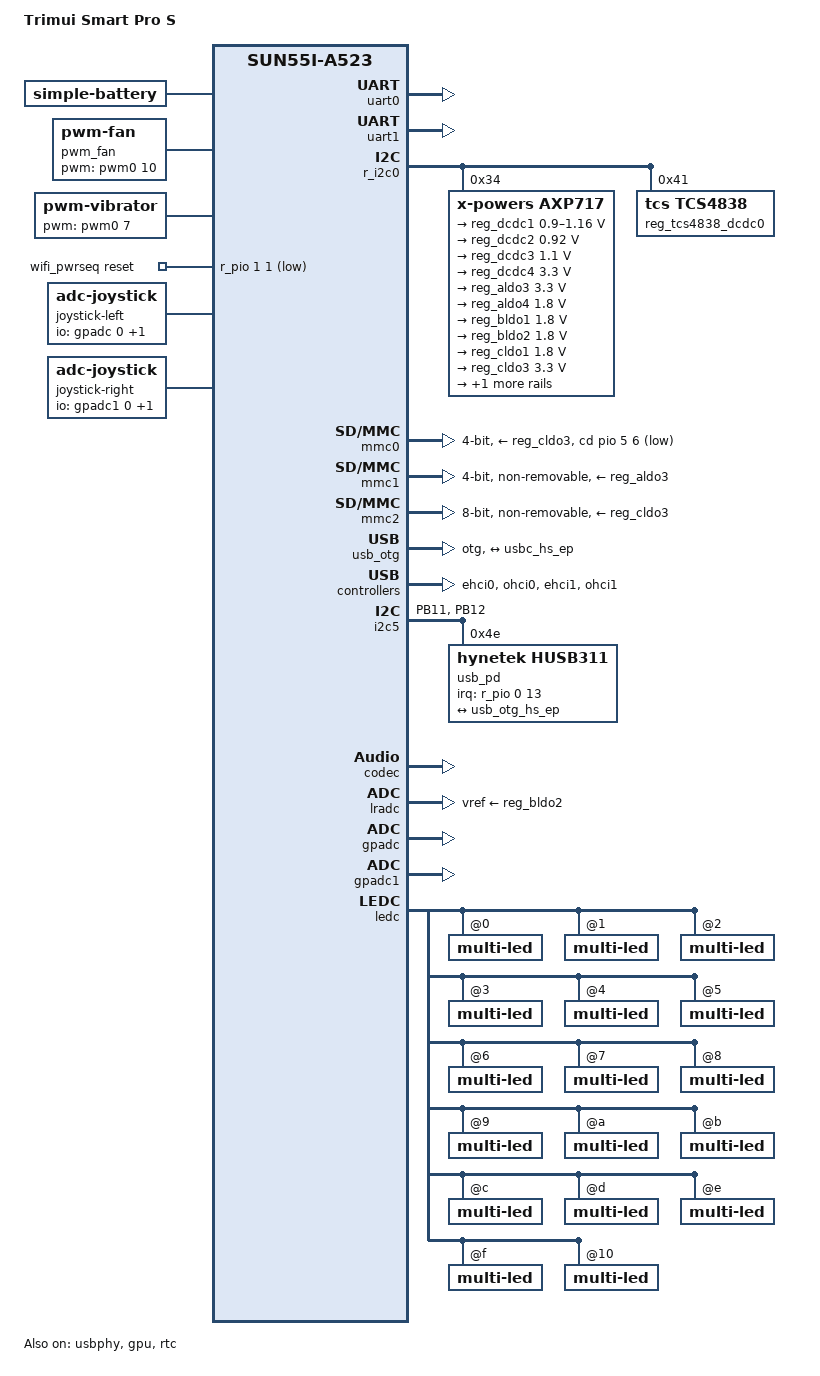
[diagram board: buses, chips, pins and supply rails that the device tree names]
// SPDX-License-Identifier: (GPL-2.0-only OR MIT)
// Copyright (C) 2026 Midgy BALON
/*
 * Trimui Smart Pro S handheld (board "A523-PRO2-AXP717C").
 * SoC: Allwinner A523 (sun55iw3p1). Base: mainline sun55i-a523.dtsi.
 *
 * WORK IN PROGRESS. Modeled on the upstream sun55i-t527-avaota-a1.dts (same SoC
 * family). Built with the display series in kernel/patches/ applied and
 * trimui-panel.dtsi appended (see kernel/build-trimui-kernel.sh).
 *
 * On board now: PMIC + regulators, storage (microSD/eMMC), USB2, RTC, LEDC RGB
 * array, GPU (Mali-G57 / Panfrost, upstream), MIPI-DSI panel + PWM backlight
 * (via patches), fan + vibrator (PWM), audio codec, LRADC side keys, GPADC
 * analog sticks (2 controllers; gpadc0 upstream v7.2 + gpadc1 via patch), WiFi/BT
 * power sequencing (AIC8800, out-of-tree module). Still pending: USB3 (draft in
 * dts/staging/). See PORTING-NOTES.md for the roadmap.
 *
 * "VERIFY" = needs confirmation by i2c/dump on real hardware before trusting.
 * Rail->consumer map is derived from the vendor DTB where known and otherwise
 * mirrors Avaota A1; the exact Trimui map must be read from the device.
 */

/dts-v1/;

#include "sun55i-a523.dtsi"

#include <dt-bindings/gpio/gpio.h>
#include <dt-bindings/input/input.h>
#include <dt-bindings/interrupt-controller/irq.h>
#include <dt-bindings/leds/common.h>
#include <dt-bindings/pwm/pwm.h>

/ {
	model = "Trimui Smart Pro S";
	/* T527 is the same die as A523; A523 is what mainline carries. */
	compatible = "trimui,smart-pro-s", "allwinner,sun55i-a523";

	aliases {
		serial0 = &uart0;
		mmc0 = &mmc0;	/* microSD */
		mmc1 = &mmc1;	/* WiFi SDIO */
		mmc2 = &mmc2;	/* eMMC */
	};

	chosen {
		stdout-path = "serial0:115200n8";
	};

	/*
	 * LiPo pack, 5000 mAh. Values from the vendor DTB: battery-cap 0x1388 =
	 * 5000 mAh, init-chgvol 0x1068 = 4.2 V CV, runtime-chgcur 0x3e8 = 1 A
	 * (the vendor bumps to ~1.95 A in suspend/shutdown). The AXP717 has a
	 * hardware fuel gauge (E-gauge) that reports charge % directly, so mainline's
	 * axp717 battery driver reads SoC from hardware and consumes only the
	 * charge-current + voltage limits below — the vendor's 32-point OCV curve
	 * (pmu_bat_para1..32) is not needed by mainline (kept in FIRMWARE-FINDINGS).
	 * VERIFY the design-min and capacity against the device.
	 */
	battery: battery {
		compatible = "simple-battery";
		voltage-min-design-microvolt = <3400000>;		/* VERIFY */
		voltage-max-design-microvolt = <4200000>;		/* vendor CV = 4.2 V */
		constant-charge-current-max-microamp = <1000000>;	/* 1 A runtime */
		charge-full-design-microamp-hours = <5000000>;		/* 5000 mAh */
	};

	/*
	 * Active cooling fan on PWM0 channel 10 / PB6 (vendor: 40 us period,
	 * inverted, 32 levels). #cooling-cells lets a thermal zone bind it once
	 * the A523 THS series lands; usable as a manual cooling device until then.
	 * &pwm0 is enabled via trimui-panel.dtsi.
	 */
	pwm_fan: pwm-fan {
		compatible = "pwm-fan";
		pwms = <&pwm0 10 40000 PWM_POLARITY_INVERTED>;
		#cooling-cells = <2>;
		cooling-levels = <0 1 20 30 40 50 60 70 80 90 100 110 120
				  130 140 150 160 170 180 190 200 205 210
				  215 220 225 230 235 240 245 250 255>;
	};

	/* Haptic motor on PWM0 channel 7 (vendor: 50 us period, normal). */
	vibrator {
		compatible = "pwm-vibrator";
		pwms = <&pwm0 7 50000 0>;
		pwm-names = "enable";
	};

	/*
	 * AIC8800 WiFi power/reset sequencing for the mmc1 SDIO bus. wlan_regon =
	 * PM1 (R_PIO bank 1, pin 1). The chip needs the out-of-tree aic8800 module;
	 * this only powers/resets it. ACTIVE_LOW so deassert (high) = powered on.
	 */
	wifi_pwrseq: wifi-pwrseq {
		compatible = "mmc-pwrseq-simple";
		reset-gpios = <&r_pio 1 1 GPIO_ACTIVE_LOW>;	/* PM1 wlan_regon */
		post-power-on-delay-ms = <200>;
	};
};

&uart0 {
	pinctrl-names = "default";
	pinctrl-0 = <&uart0_pb_pins>;
	status = "okay";
};

/*
 * UART1 (PG6-PG9, with RTS/CTS) = AIC8800 Bluetooth HCI. The BT side needs the
 * out-of-tree aic8800 module; control lines are on R_PIO Port M: bt_rst_n = PM2,
 * bt_wake = PM3, bt_hostwake = PM4.
 */
&uart1 {
	pinctrl-names = "default";
	pinctrl-0 = <&uart1_pins>, <&uart1_rts_cts_pins>;
	uart-has-rtscts;
	status = "okay";
};

/*
 * Reduced-I2C bus: main PMIC lives here (vendor "pmu@34" on s_twi0 = r_i2c0).
 * Vendor silk says AXP717C and drives it as axp2202; mainline only has an
 * AXP717 driver and the register maps are close. VERIFY the chip ID before
 * trusting any voltage below - a wrong PMIC map can mis-set rails.
 */
&r_i2c0 {
	pinctrl-names = "default";
	pinctrl-0 = <&r_i2c_pins>;
	status = "okay";

	axp717: pmic@34 {
		compatible = "x-powers,axp717";	/* VERIFY: axp717 vs axp2202 */
		reg = <0x34>;
		interrupt-controller;
		#interrupt-cells = <1>;
		interrupt-parent = <&nmi_intc>;
		interrupts = <0 IRQ_TYPE_LEVEL_LOW>;

		axp717_adc: adc {
			compatible = "x-powers,axp717-adc";
			#io-channel-cells = <1>;
		};

		battery-power {
			compatible = "x-powers,axp717-battery-power-supply";
			monitored-battery = <&battery>;
		};

		regulators {
			/* dcdc1: CPU "little" cluster (vendor cpu-supply = dcdc1). */
			reg_dcdc1: dcdc1 {
				regulator-always-on;
				regulator-min-microvolt = <900000>;
				regulator-max-microvolt = <1160000>;
				regulator-name = "vdd-cpu";
			};

			reg_dcdc2: dcdc2 {
				regulator-always-on;
				regulator-min-microvolt = <920000>;
				regulator-max-microvolt = <920000>;
				regulator-name = "vdd-gpu-sys";	/* VERIFY */
			};

			/*
			 * LPDDR4 VCC-DRAM. Datasheet Table 6-2 (Recommended
			 * Operating Conditions): 1.06 / 1.10 / 1.17 V. Use 1.10 V
			 * typ — earlier 1.16 V was wrong (copied from the CPU rail,
			 * no margin). Confirm via AXP2202 DCDC3 i2c read on HW.
			 * See uboot/DRAM-VALIDATION.md.
			 */
			reg_dcdc3: dcdc3 {
				regulator-always-on;
				regulator-min-microvolt = <1100000>;
				regulator-max-microvolt = <1100000>;
				regulator-name = "vdd-dram";
			};

			reg_dcdc4: dcdc4 {
				regulator-always-on;
				regulator-min-microvolt = <3300000>;
				regulator-max-microvolt = <3300000>;
				regulator-name = "vdd-io";	/* VERIFY */
			};

			reg_aldo1: aldo1 {
				/* VERIFY connection */
			};

			reg_aldo2: aldo2 {
				/* VERIFY connection */
			};

			/* aldo3: WiFi 3.3V (vendor wlan_power[0] = aldo3 @ 3.3V). */
			reg_aldo3: aldo3 {
				regulator-always-on;
				regulator-min-microvolt = <3300000>;
				regulator-max-microvolt = <3300000>;
				regulator-name = "vcc-wifi-3v3";	/* VERIFY */
			};

			reg_aldo4: aldo4 {
				regulator-always-on;
				regulator-min-microvolt = <1800000>;
				regulator-max-microvolt = <1800000>;
				regulator-name = "vcc-pll-avcc";	/* VERIFY */
			};

			/* bldo1: WiFi 1.8V (vendor wlan_power[1] = bldo1 @ 1.8V). */
			reg_bldo1: bldo1 {
				regulator-min-microvolt = <1800000>;
				regulator-max-microvolt = <1800000>;
				regulator-name = "vcc-wifi-1v8";	/* VERIFY */
			};

			/* bldo2: 1.8V, vendor keeps on (wlan_power[2]). */
			reg_bldo2: bldo2 {
				regulator-always-on;
				regulator-min-microvolt = <1800000>;
				regulator-max-microvolt = <1800000>;
				regulator-name = "vcc-1v8";	/* VERIFY */
			};

			reg_bldo3: bldo3 {
				/* VERIFY connection */
			};

			reg_bldo4: bldo4 {
				/* VERIFY connection */
			};

			reg_cldo1: cldo1 {
				regulator-min-microvolt = <1800000>;
				regulator-max-microvolt = <1800000>;
				regulator-name = "vcc-1v8-io";	/* VERIFY (mmc vqmmc) */
			};

			reg_cldo2: cldo2 {
				/* VERIFY connection */
			};

			reg_cldo3: cldo3 {
				regulator-min-microvolt = <3300000>;
				regulator-max-microvolt = <3300000>;
				regulator-name = "vcc-3v3-io-mmc";	/* VERIFY (mmc vmmc) */
			};

			reg_cldo4: cldo4 {
				/* VERIFY connection */
			};

			reg_cpusldo: cpusldo {
				regulator-always-on;
				regulator-min-microvolt = <900000>;
				regulator-max-microvolt = <900000>;
				regulator-name = "vdd-cpus";
			};
		};
	};

	/*
	 * External "big" cluster CPU supply: TCS4838 buck @ 0x41 (vendor
	 * cpu-supply for cluster1 / cpu4-7). A FAN53555-family single-output buck,
	 * matched purely by compatible (tcs,tcs4838, added in patch 0014 — no
	 * chip-ID probe). The 0.7125-1.5 V envelope is the vendor DTB constraint;
	 * the big-cluster OPP ladder (dts/staging/trimui-cpu-opp.dtsi) caps the
	 * actual operating voltage at 1.15 V nominal. always-on: it is the live
	 * big-core rail. VERIFY on hardware (i2cdump 0x41 ID1/ID2 + live VSEL, see
	 * docs/TCS4838-NOTES.md) before trusting DVFS on this cluster.
	 */
	reg_tcs4838_dcdc0: regulator@41 {
		compatible = "tcs,tcs4838";
		reg = <0x41>;
		regulator-name = "vdd-cpu-big";
		regulator-min-microvolt = <712500>;
		regulator-max-microvolt = <1500000>;
		regulator-ramp-delay = <520>;	/* vendor DTB; driver rounds to the fan53555 500 uV/us slew */
		regulator-boot-on;
		regulator-always-on;
	};
};

/* microSD */
&mmc0 {
	pinctrl-names = "default";
	pinctrl-0 = <&mmc0_pins>;
	bus-width = <4>;
	cd-gpios = <&pio 5 6 GPIO_ACTIVE_LOW>;	/* PF6 */
	vmmc-supply = <&reg_cldo3>;	/* VERIFY */
	vqmmc-supply = <&reg_cldo1>;	/* VERIFY */
	cap-sd-highspeed;
	status = "okay";
};

/* WiFi over SDIO (vendor wlan_busnum = 1). Chip unidentified -> no child yet. */
&mmc1 {
	pinctrl-names = "default";
	pinctrl-0 = <&mmc1_pins>;
	bus-width = <4>;
	non-removable;
	vmmc-supply = <&reg_aldo3>;	/* 3.3V (vendor) */
	vqmmc-supply = <&reg_bldo1>;	/* 1.8V (vendor) */
	mmc-pwrseq = <&wifi_pwrseq>;
	keep-power-in-suspend;
	/*
	 * Chip = AIC8800 (firmware-confirmed), driven by the out-of-tree aic8800
	 * SDIO module which probes the function automatically, so no wifi@1 child
	 * with a mainline compatible. Vendor control lines on R_PIO Port M:
	 * wlan_hostwake = PM0, chip_en = PM5 (wlan_regon = PM1 -> wifi_pwrseq).
	 */
	status = "okay";
};

/* eMMC */
&mmc2 {
	pinctrl-names = "default";
	pinctrl-0 = <&mmc2_pins>;
	bus-width = <8>;
	non-removable;
	cap-mmc-highspeed;
	mmc-ddr-1_8v;
	mmc-hs200-1_8v;
	mmc-hs400-1_8v;
	vmmc-supply = <&reg_cldo3>;	/* 3.3V VERIFY */
	vqmmc-supply = <&reg_cldo1>;	/* 1.8V VERIFY */
	status = "okay";
};

/*
 * CPU idle states (PSCI) — WFI cpu-sleep + cluster power-down, for battery life.
 * Latencies/residencies transcribed from the vendor DTB; VERIFY on hardware.
 */
/ {
	cpus {
		idle-states {
			entry-method = "psci";

			cpu_sleep: cpu-sleep {
				compatible = "arm,idle-state";
				arm,psci-suspend-param = <0x00010000>;
				local-timer-stop;
				entry-latency-us = <46>;
				exit-latency-us = <59>;
				min-residency-us = <3570>;
			};

			cluster_sleep: cluster-sleep {
				compatible = "arm,idle-state";
				arm,psci-suspend-param = <0x01010000>;
				local-timer-stop;
				entry-latency-us = <47>;
				exit-latency-us = <74>;
				min-residency-us = <5000>;
			};
		};
	};
};

&cpu0 { cpu-idle-states = <&cpu_sleep &cluster_sleep>; };
&cpu1 { cpu-idle-states = <&cpu_sleep &cluster_sleep>; };
&cpu2 { cpu-idle-states = <&cpu_sleep &cluster_sleep>; };
&cpu3 { cpu-idle-states = <&cpu_sleep &cluster_sleep>; };
&cpu4 { cpu-idle-states = <&cpu_sleep &cluster_sleep>; };
&cpu5 { cpu-idle-states = <&cpu_sleep &cluster_sleep>; };
&cpu6 { cpu-idle-states = <&cpu_sleep &cluster_sleep>; };
&cpu7 { cpu-idle-states = <&cpu_sleep &cluster_sleep>; };

/* USB */
&usb_otg {
	dr_mode = "otg";	/* external "usb/dp" USB-C port */
	usb-role-switch;	/* host/device role driven by the husb311 Type-C PD controller */
	status = "okay";

	port {
		usb_otg_hs_ep: endpoint {
			remote-endpoint = <&usbc_hs_ep>;
		};
	};
};

&usbphy {
	/* VERIFY id/vbus detect GPIOs + drivevbus from PMIC on hardware. */
	status = "okay";
};

&ehci0 {
	status = "okay";
};

&ohci0 {
	status = "okay";
};

/* Internal host bus - one port carries the gamepad MCU (buttons over USB). */
&ehci1 {
	status = "okay";
};

&ohci1 {
	status = "okay";
};

/*
 * USB-C Type-C port controller on the "usb/dp" port. husb311 (Hynetek) is
 * register-compatible with the Richtek RT1711H. It negotiates USB-PD (charging)
 * and drives the OTG data-role switch (usb-role-switch on &usb_otg, via the
 * sunxi musb role-switch support) so the port can host adapters as well as
 * charge / act as a gadget. VERIFY on hardware: bus/pins (i2c5 = PB11/PB12),
 * ALERT irq (PL13), the PDOs, and a vbus-supply (an AXP drive-vbus rail) if
 * bus-powered host peripherals (keyboard/mouse) are to be powered.
 */
&i2c5 {
	pinctrl-names = "default";
	pinctrl-0 = <&i2c5_pb_pins>;
	status = "okay";

	usb_pd: usb-pd@4e {
		compatible = "hynetek,husb311", "richtek,rt1711h";
		reg = <0x4e>;
		interrupt-parent = <&r_pio>;
		interrupts = <0 13 IRQ_TYPE_LEVEL_LOW>;	/* PL13, active-low ALERT */
		wakeup-source;

		connector {
			compatible = "usb-c-connector";
			label = "usb/dp";
			power-role = "dual";
			data-role = "dual";
			try-power-role = "source";
			op-sink-microwatt = <1000000>;
			/* PDOs transcribed from the vendor DTB — VERIFY on hardware. */
			sink-pdos = <0x220190c8 0x864190c8>;
			source-pdos = <0x22019032 0x86419078>;

			ports {
				#address-cells = <1>;
				#size-cells = <0>;

				port@0 {
					reg = <0>;
					usbc_hs_ep: endpoint {
						remote-endpoint = <&usb_otg_hs_ep>;
					};
				};
			};
		};
	};
};

&pio {
	i2c5_pb_pins: i2c5-pb-pins {
		pins = "PB11", "PB12";	/* TWI5-SCK / TWI5-SDA */
		allwinner,pinmux = <2>;
		function = "i2c5";
	};
};

/*
 * Mali-G57 (Valhall, Job-Manager) — Panfrost. Node, binding and driver are all
 * upstream; the board only enables it and supplies the rail. mali-supply =
 * AXP2202 dcdc2 (resolved from the vendor DTB; a shared GPU+VE rail). See
 * docs/GPU-NOTES.md.
 */
&gpu {
	mali-supply = <&reg_dcdc2>;
	status = "okay";
};

/*
 * Internal audio codec (driver sun55i-codec; node in sun55i-a523.dtsi). avcc =
 * analog 1.8 V = AXP2202 aldo4 (vendor avcc-supply). Speaker amp enable = PH6
 * (active high). The routing mirrors the vendor card: DAC -> line-out/HP pins,
 * speaker fed from the line-out pins, mics -> ADCs. Jack/HMIC detect is WIP
 * (see docs/AUDIO-CODEC-NOTES.md).
 */
&codec {
	allwinner,pa-gpios = <&pio 7 6 GPIO_ACTIVE_HIGH>;	/* PH6 speaker amp */
	allwinner,audio-routing =
		"LINEOUTL", "LINEOUTLP_PIN",
		"LINEOUTL", "LINEOUTLN_PIN",
		"LINEOUTR", "LINEOUTRP_PIN",
		"LINEOUTR", "LINEOUTRN_PIN",
		"SPK", "LINEOUTLP_PIN",
		"SPK", "LINEOUTLN_PIN",
		"SPK", "LINEOUTRP_PIN",
		"SPK", "LINEOUTRN_PIN",
		"HPOUT", "HPOUTL_PIN",
		"HPOUT", "HPOUTR_PIN",
		"MIC1P_PIN", "MIC1",
		"MIC1N_PIN", "MIC1",
		"MIC2P_PIN", "MIC2",
		"MIC2N_PIN", "MIC2",
		"MIC3P_PIN", "MIC3",
		"MIC3N_PIN", "MIC3";
	avcc-supply = <&reg_aldo4>;
	status = "okay";
};

/*
 * Side keys on LRADC (vendor "keyboard_1350mv", 3 keys). The per-key voltages
 * and keycodes are transcribed from the vendor DTB (key0/1/2 = <voltage_mV
 * keycode>): 410 mV / KEY_HOMEPAGE, 646 mV / KEY_VOLUMEUP, 900 mV /
 * KEY_VOLUMEDOWN. So these are the vendor's measured thresholds, not guesses —
 * confirm on HW with evtest. If a key doesn't fire, mainline's r329-LRADC scale
 * differs from the vendor 1350 mV reference: read the driver's measured voltage
 * (temporary dev_info in sun4i-lradc-keys.c) and/or fix vref-supply. See the
 * "LRADC keys" step in docs/HARDWARE-BRINGUP.md.
 */
&lradc {
	vref-supply = <&reg_bldo2>;	/* 1.8V VERIFY (LRADC reference rail) */
	status = "okay";

	button-410 {
		label = "Home";
		linux,code = <KEY_HOMEPAGE>;
		channel = <0>;
		voltage = <410000>;	/* vendor key0; confirm on HW */
	};

	button-646 {
		label = "Volume Up";
		linux,code = <KEY_VOLUMEUP>;
		channel = <0>;
		voltage = <646000>;	/* vendor key1; confirm on HW */
	};

	button-900 {
		label = "Volume Down";
		linux,code = <KEY_VOLUMEDOWN>;
		channel = <0>;
		voltage = <900000>;	/* vendor key2; confirm on HW */
	};
};

/*
 * Analog sticks via GPADC — two controllers, 2 channels each (4 axes = 2 sticks).
 * gpadc0 (adc@2009000) is upstream since v7.2; gpadc1 (adc@2009c00) is added by
 * kernel/patches (the second controller). Channel->axis mapping and abs-range are
 * BEST-GUESS: calibrate on HW (read raw min/max/centre per axis; then set
 * abs-range + abs-flat deadzone). 12-bit (0..4095). VERIFY on the device.
 */
&gpadc {		/* left stick */
	status = "okay";
};

&gpadc1 {		/* right stick (adc@2009c00, via kernel/patches) */
	status = "okay";
};

/ {
	joystick-left {
		compatible = "adc-joystick";
		io-channels = <&gpadc 0>, <&gpadc 1>;
		poll-interval = <16>;
		#address-cells = <1>;
		#size-cells = <0>;

		axis@0 {
			reg = <0>;
			linux,code = <ABS_X>;
			abs-range = <0 4095>;	/* VERIFY / calibrate */
			abs-fuzz = <16>;
			abs-flat = <128>;
		};

		axis@1 {
			reg = <1>;
			linux,code = <ABS_Y>;
			abs-range = <0 4095>;	/* VERIFY / calibrate */
			abs-fuzz = <16>;
			abs-flat = <128>;
		};
	};

	joystick-right {
		compatible = "adc-joystick";
		io-channels = <&gpadc1 0>, <&gpadc1 1>;
		poll-interval = <16>;
		#address-cells = <1>;
		#size-cells = <0>;

		axis@0 {
			reg = <0>;
			linux,code = <ABS_RX>;
			abs-range = <0 4095>;	/* VERIFY / calibrate */
			abs-fuzz = <16>;
			abs-flat = <128>;
		};

		axis@1 {
			reg = <1>;
			linux,code = <ABS_RY>;
			abs-range = <0 4095>;	/* VERIFY / calibrate */
			abs-fuzz = <16>;
			abs-flat = <128>;
		};
	};
};

&rtc {
	status = "okay";
};

/*
 * Addressable RGB LED array (17 LEDs, WS2812-style) on the LEDC controller,
 * data on PH19. The LEDC node + driver landed in mainline v7.1
 * (allwinner,sun55i-a523-ledc -> sun50i-a100-ledc). Vendor DTB: led_count=17,
 * output_mode="RGB". pixel-format defaults to grb (WS2812); flip on HW if colours
 * are swapped. VERIFY count/order against the device.
 */
&ledc {
	pinctrl-names = "default";
	pinctrl-0 = <&ledc_ph_pin>;
	status = "okay";

	multi-led@0 {
		reg = <0x0>;
		color = <LED_COLOR_ID_RGB>;
		function = LED_FUNCTION_INDICATOR;
		function-enumerator = <0>;
	};
	multi-led@1 {
		reg = <0x1>;
		color = <LED_COLOR_ID_RGB>;
		function = LED_FUNCTION_INDICATOR;
		function-enumerator = <1>;
	};
	multi-led@2 {
		reg = <0x2>;
		color = <LED_COLOR_ID_RGB>;
		function = LED_FUNCTION_INDICATOR;
		function-enumerator = <2>;
	};
	multi-led@3 {
		reg = <0x3>;
		color = <LED_COLOR_ID_RGB>;
		function = LED_FUNCTION_INDICATOR;
		function-enumerator = <3>;
	};
	multi-led@4 {
		reg = <0x4>;
		color = <LED_COLOR_ID_RGB>;
		function = LED_FUNCTION_INDICATOR;
		function-enumerator = <4>;
	};
	multi-led@5 {
		reg = <0x5>;
		color = <LED_COLOR_ID_RGB>;
		function = LED_FUNCTION_INDICATOR;
		function-enumerator = <5>;
	};
	multi-led@6 {
		reg = <0x6>;
		color = <LED_COLOR_ID_RGB>;
		function = LED_FUNCTION_INDICATOR;
		function-enumerator = <6>;
	};
	multi-led@7 {
		reg = <0x7>;
		color = <LED_COLOR_ID_RGB>;
		function = LED_FUNCTION_INDICATOR;
		function-enumerator = <7>;
	};
	multi-led@8 {
		reg = <0x8>;
		color = <LED_COLOR_ID_RGB>;
		function = LED_FUNCTION_INDICATOR;
		function-enumerator = <8>;
	};
	multi-led@9 {
		reg = <0x9>;
		color = <LED_COLOR_ID_RGB>;
		function = LED_FUNCTION_INDICATOR;
		function-enumerator = <9>;
	};
	multi-led@a {
		reg = <0xa>;
		color = <LED_COLOR_ID_RGB>;
		function = LED_FUNCTION_INDICATOR;
		function-enumerator = <10>;
	};
	multi-led@b {
		reg = <0xb>;
		color = <LED_COLOR_ID_RGB>;
		function = LED_FUNCTION_INDICATOR;
		function-enumerator = <11>;
	};
	multi-led@c {
		reg = <0xc>;
		color = <LED_COLOR_ID_RGB>;
		function = LED_FUNCTION_INDICATOR;
		function-enumerator = <12>;
	};
	multi-led@d {
		reg = <0xd>;
		color = <LED_COLOR_ID_RGB>;
		function = LED_FUNCTION_INDICATOR;
		function-enumerator = <13>;
	};
	multi-led@e {
		reg = <0xe>;
		color = <LED_COLOR_ID_RGB>;
		function = LED_FUNCTION_INDICATOR;
		function-enumerator = <14>;
	};
	multi-led@f {
		reg = <0xf>;
		color = <LED_COLOR_ID_RGB>;
		function = LED_FUNCTION_INDICATOR;
		function-enumerator = <15>;
	};
	multi-led@10 {
		reg = <0x10>;
		color = <LED_COLOR_ID_RGB>;
		function = LED_FUNCTION_INDICATOR;
		function-enumerator = <16>;
	};
};
